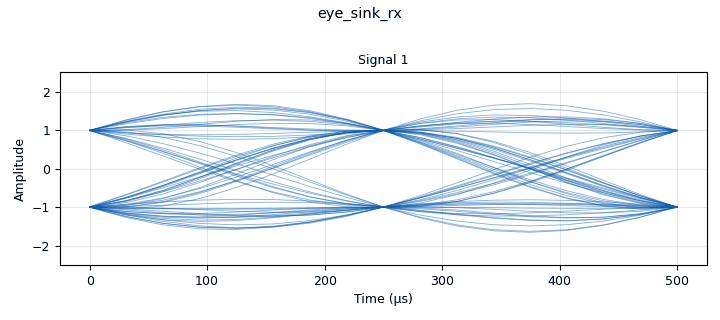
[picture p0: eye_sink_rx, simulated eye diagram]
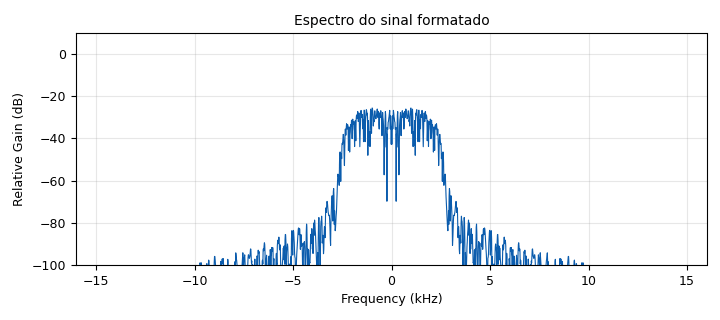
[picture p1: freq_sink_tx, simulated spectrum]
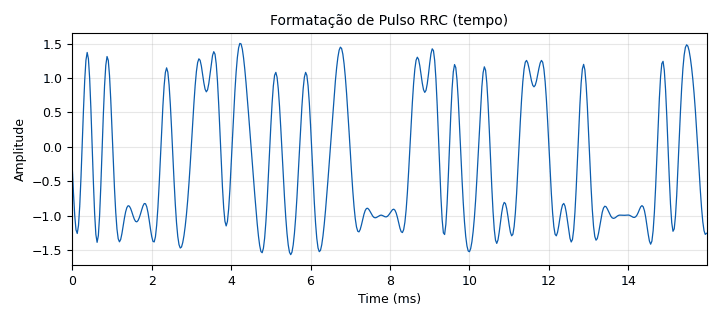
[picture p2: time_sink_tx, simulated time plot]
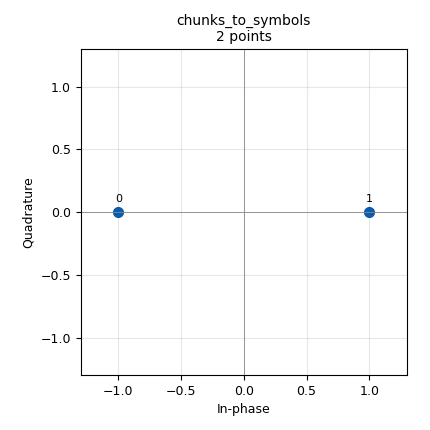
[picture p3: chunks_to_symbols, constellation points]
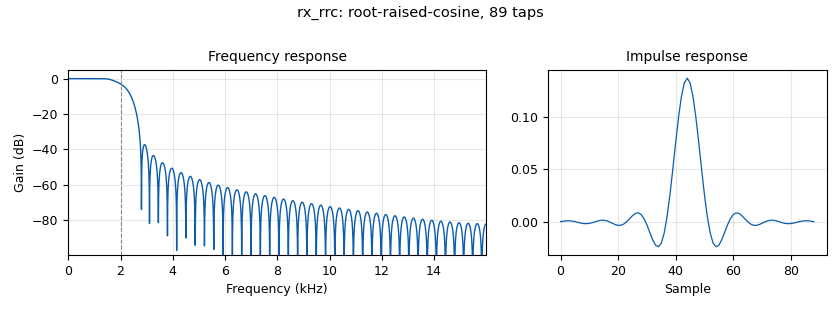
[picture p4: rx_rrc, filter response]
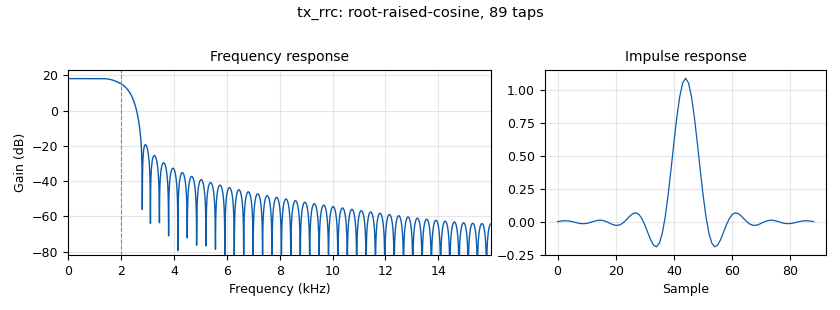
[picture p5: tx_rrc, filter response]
options:
  parameters:
    author: Prof. Daniel Costa Araújo
    description: Formatação de pulso (RRC), ISI e diagrama de olho
    generate_options: qt_gui
    id: demo_pulse_shaping_olho
    output_language: python
    title: 'Demo: Formatação de Pulso, ISI e Diagrama de Olho'
  states: {}

blocks:
- name: alpha
  id: variable_qtgui_range
  parameters:
    comment: Fator de roll-off do cosseno levantado
    gui_hint: 0,0,1,1
    label: Roll-off alpha
    start: '0.0'
    step: '0.05'
    stop: '1.0'
    value: '0.35'
  states: {}
- name: noise_amp
  id: variable_qtgui_range
  parameters:
    comment: Amplitude do ruído do canal (AWGN)
    gui_hint: 0,1,1,1
    label: Ruído do canal (AWGN)
    start: '0.0'
    step: '0.02'
    stop: '0.6'
    value: '0.0'
  states: {}
- name: ntaps
  id: variable
  parameters:
    comment: Número de coeficientes do filtro RRC
    value: 11*sps+1
  states: {}
- name: samp_rate
  id: variable
  parameters:
    comment: Taxa de amostragem (samples/s)
    value: '32000'
  states: {}
- name: sps
  id: variable
  parameters:
    comment: Amostras por símbolo (fixa)
    value: '8'
  states: {}
- name: sym_rate
  id: variable
  parameters:
    comment: Taxa de símbolos Rs = samp_rate/sps
    value: samp_rate/sps
  states: {}
- name: add_canal
  id: blocks_add_xx
  parameters:
    comment: Sinal + ruído
    type: float
  states: {}
- name: chunks_to_symbols
  id: digital_chunks_to_symbols_xx
  parameters:
    comment: Mapeia 0 -> -1 e 1 -> +1 (2-PAM)
    dimension: '1'
    in_type: byte
    out_type: float
    symbol_table: '[-1, 1]'
  states: {}
- name: eye_sink_rx
  id: qtgui_eye_sink_x
  parameters:
    comment: Diagrama de olho após o filtro casado
    grid: 'True'
    gui_hint: 2,0,1,2
    samp_per_symbol: sps
    size: '1024'
    srate: samp_rate
    type: float
    ymax: '2.5'
    ymin: '-2.5'
  states: {}
- name: freq_sink_tx
  id: qtgui_freq_sink_x
  parameters:
    bw: samp_rate
    comment: 'Espectro: banda ocupada ~ (1+alpha)*Rs/2'
    fc: '0'
    fftsize: '2048'
    grid: 'True'
    gui_hint: 1,1,1,1
    name: '"Espectro do sinal formatado"'
    type: float
    ymin: '-100'
  states: {}
- name: glfsr
  id: digital_glfsr_source_x
  parameters:
    comment: Bits pseudo-aleatórios (0/1)
    degree: '8'
    mask: '0'
    repeat: 'True'
    seed: '1'
    type: byte
  states: {}
- name: noise
  id: analog_noise_source_x
  parameters:
    amp: noise_amp
    comment: Ruído gaussiano do canal
    noise_type: analog.GR_GAUSSIAN
    seed: '0'
    type: float
  states: {}
- name: rx_rrc
  id: root_raised_cosine_filter
  parameters:
    alpha: alpha
    comment: Filtro casado RRC -> RRC*RRC = cosseno levantado (ISI nula)
    decim: '1'
    gain: '1'
    ntaps: ntaps
    samp_rate: samp_rate
    sym_rate: sym_rate
    type: fir_filter_fff
  states: {}
- name: throttle
  id: blocks_throttle2
  parameters:
    comment: Limita CPU na taxa de símbolos
    samples_per_second: sym_rate
    type: float
  states: {}
- name: time_sink_tx
  id: qtgui_time_sink_x
  parameters:
    autoscale: 'True'
    comment: Forma de onda formatada (domínio do tempo)
    grid: 'True'
    gui_hint: 1,0,1,1
    name: '"Formata\xE7\xE3o de Pulso RRC (tempo)"'
    size: '512'
    srate: samp_rate
    type: float
    ymax: '2'
    ymin: '-2'
  states: {}
- name: tx_rrc
  id: root_raised_cosine_filter
  parameters:
    alpha: alpha
    comment: Filtro formatador RRC (interpola por sps)
    gain: sps
    interp: sps
    ntaps: ntaps
    samp_rate: samp_rate
    sym_rate: sym_rate
    type: interp_fir_filter_fff
  states: {}

connections:
- [add_canal, '0', rx_rrc, '0']
- [chunks_to_symbols, '0', throttle, '0']
- [glfsr, '0', chunks_to_symbols, '0']
- [noise, '0', add_canal, '1']
- [rx_rrc, '0', eye_sink_rx, '0']
- [throttle, '0', tx_rrc, '0']
- [tx_rrc, '0', add_canal, '0']
- [tx_rrc, '0', freq_sink_tx, '0']
- [tx_rrc, '0', time_sink_tx, '0']

metadata:
  file_format: 1
  grc_version: 3.10.12.0
